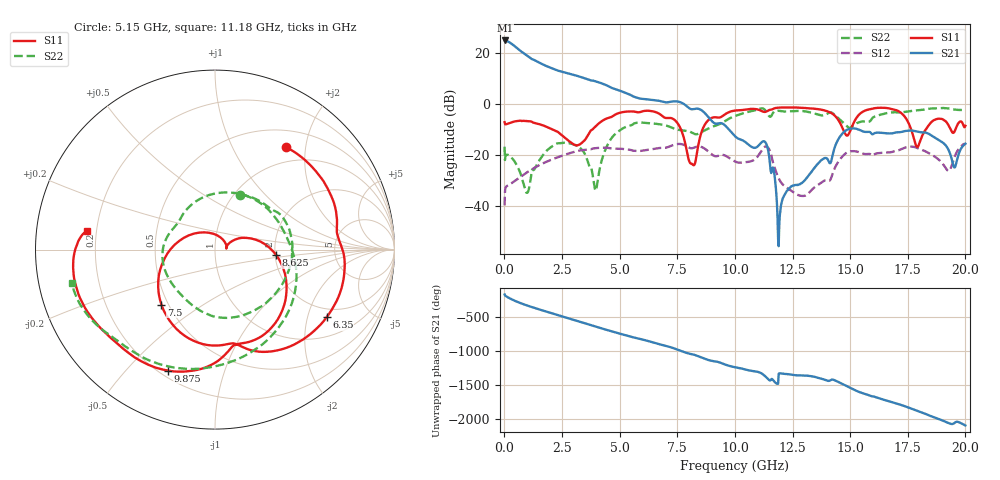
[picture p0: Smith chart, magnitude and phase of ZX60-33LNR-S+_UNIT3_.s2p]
!Mini-Circuits Laboratory
!S-Parameters
!Model: ZX60-33LNR-S+
!Run / Lot / Date Code: E181103 / N/A / N/A
!Fixture: N/A, Pressing Arm: N/A
!Network Analyzer: PNA-X N5242A - 423 4 ports;  Serial number: 74302
!Date: 11/9/2018 at 2:35:26 PM
!S/N: Unit# 3
!Volage and Current limited to 5V and 150mA
# Hz  S  dB  R  50
!Frequency  S11 dB  S11 Deg  S21 dB  S21 Deg  S12 dB  S12 Deg  S22 dB  S22 Deg
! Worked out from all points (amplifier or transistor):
!   879 points, 10 MHz to 20 GHz, reference 50 ohm
!   highest |S21| = 24.8 dB at 20 MHz (marker M1)
!   |S21| within 3 dB of that: start of sweep to 551.3 MHz
!   unconditionally stable (mu >= 1): start of sweep to end of sweep
!   at 1.7 GHz: K = 1.21, MAG = 16.4 dB, |S12| = -23.1 dB
!   at 9.025 GHz: K = 6.85, MAG = -4.9 dB, |S12| = -19.9 dB
!   at 20 GHz: K = 6.42, MAG = -10.8 dB, |S12| = -16.0 dB
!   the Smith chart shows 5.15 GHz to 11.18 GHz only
!   S11 on the Smith chart (normalised r, x): 5.15 GHz: 0.74, +1.65; 6.35 GHz: 1.65, -2.65; 7.5 GHz: 0.46, -0.34; 8.625 GHz: 2.03, -0.14; 9.875 GHz: 0.23, -0.66; 11.18 GHz: 0.16, +0.07
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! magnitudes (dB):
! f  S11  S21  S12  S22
! 10 MHz  -7.1  24.7  -39.7  -16.7
! 20 MHz  -7.6  24.8  -35.4  -21.7
! 975 MHz  -6.7  18.9  -26.8  -34.8
! 2 GHz  -9.6  14.2  -21.9  -17.0
! 3.35 GHz  -15.3  10.4  -18.1  -17.7
! 3.975 GHz  -8.6  8.8  -17.3  -33.7
! 5.15 GHz  -3.2  4.7  -17.6  -9.5
! 6.35 GHz  -2.8  1.6  -17.8  -7.6
! 6.675 GHz  -3.6  1.3  -17.3  -7.9
! 7.5 GHz  -7.4  1.0  -15.7  -10.0
! 8.15 GHz  -23.5  -2.1  -17.3  -11.3
! 8.625 GHz  -9.3  -3.0  -17.1  -10.6
! 9.875 GHz  -2.8  -11.4  -21.8  -5.2
! 10.03 GHz  -2.6  -12.8  -22.6  -4.7
! 11.18 GHz  -2.8  -14.9  -18.0  -1.7
! 11.93 GHz  -1.4  -47.2  -29.5  -2.7
! 13.35 GHz  -1.8  -26.2  -33.4  -3.5
! 14.88 GHz  -12.4  -10.1  -18.9  -8.8
! 16.68 GHz  -1.7  -11.5  -19.0  -3.5
! 17.9 GHz  -16.7  -10.8  -17.2  -2.5
! 19.25 GHz  -8.0  -17.6  -26.2  -1.8
! 20 GHz  -8.6  -15.5  -16.0  -2.3
